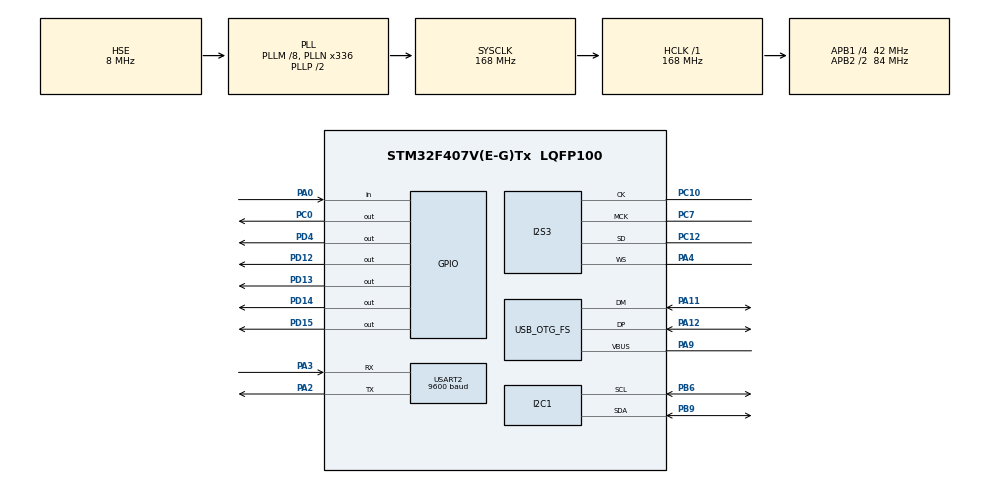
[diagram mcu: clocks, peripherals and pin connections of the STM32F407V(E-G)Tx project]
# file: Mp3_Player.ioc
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Dma.Request0=SPI3_TX
Dma.SPI3_TX.0.Direction=DMA_MEMORY_TO_PERIPH
Dma.SPI3_TX.0.FIFOMode=DMA_FIFOMODE_ENABLE
Dma.SPI3_TX.0.FIFOThreshold=DMA_FIFO_THRESHOLD_FULL
Dma.SPI3_TX.0.Instance=DMA1_Stream5
Dma.SPI3_TX.0.MemBurst=DMA_MBURST_SINGLE
Dma.SPI3_TX.0.MemDataAlignment=DMA_MDATAALIGN_HALFWORD
Dma.SPI3_TX.0.MemInc=DMA_MINC_ENABLE
Dma.SPI3_TX.0.Mode=DMA_CIRCULAR
Dma.SPI3_TX.0.PeriphBurst=DMA_PBURST_SINGLE
Dma.SPI3_TX.0.PeriphDataAlignment=DMA_PDATAALIGN_HALFWORD
Dma.SPI3_TX.0.PeriphInc=DMA_PINC_DISABLE
Dma.SPI3_TX.0.Priority=DMA_PRIORITY_LOW
I2S3.AudioFreq=I2S_AUDIOFREQ_44K
I2S3.ErrorAudioFreq=0.24 %
I2S3.FullDuplexMode=I2S_FULLDUPLEXMODE_DISABLE
I2S3.Instance=SPI$Index
I2S3.RealAudioFreq=44.108 KHz
I2S3.VirtualMode=I2S_MODE_MASTER
Mcu.Family=STM32F4
Mcu.Name=STM32F407V(E-G)Tx
Mcu.Package=LQFP100
NVIC.DMA1_Stream5_IRQn=true\:0\:0\:false\:false\:true\:false\:true\:true
NVIC.OTG_FS_IRQn=true\:0\:0\:false\:false\:true\:true\:true\:true
NVIC.PriorityGroup=NVIC_PRIORITYGROUP_0
NVIC.TIM1_UP_TIM10_IRQn=true\:0\:0\:false\:false\:true\:true\:true\:true
NVIC.USART2_IRQn=true\:0\:0\:false\:false\:true\:true\:true\:true
PA0-WKUP.Signal=GPIO_Input
PA11.Mode=Host_Only
PA11.Signal=USB_OTG_FS_DM
PA12.Mode=Host_Only
PA12.Signal=USB_OTG_FS_DP
PA2.Mode=Asynchronous
PA2.Signal=USART2_TX
PA3.Mode=Asynchronous
PA3.Signal=USART2_RX
PA4.Mode=Half_Duplex_Master
PA4.Signal=I2S3_WS
PA9.Mode=Activate_VBUS
PA9.Signal=USB_OTG_FS_VBUS
PB6.Mode=I2C
PB6.Signal=I2C1_SCL
PB9.Mode=I2C
PB9.Signal=I2C1_SDA
PC0.Signal=GPIO_Output
PC10.Mode=Half_Duplex_Master
PC10.Signal=I2S3_CK
PC12.Mode=Half_Duplex_Master
PC12.Signal=I2S3_SD
PC7.Mode=Master_Clock_Activated
PC7.Signal=I2S3_MCK
PD12.Signal=GPIO_Output
PD13.Signal=GPIO_Output
PD14.Signal=GPIO_Output
PD15.Signal=GPIO_Output
PD4.Signal=GPIO_Output
PH0-OSC_IN.Mode=HSE-External-Oscillator
PH0-OSC_IN.Signal=RCC_OSC_IN
PH1-OSC_OUT.Mode=HSE-External-Oscillator
PH1-OSC_OUT.Signal=RCC_OSC_OUT
ProjectManager.HeapSize=0x2000
ProjectManager.StackSize=0x2000
ProjectManager.TargetToolchain=STM32CubeIDE
RCC.48MHZClocksFreq_Value=48000000
RCC.AHBFreq_Value=168000000
RCC.APB1CLKDivider=RCC_HCLK_DIV4
RCC.APB1Freq_Value=42000000
RCC.APB1TimFreq_Value=84000000
RCC.APB2CLKDivider=RCC_HCLK_DIV2
RCC.APB2Freq_Value=84000000
RCC.APB2TimFreq_Value=168000000
RCC.CortexFreq_Value=168000000
RCC.HCLKFreq_Value=168000000
RCC.HSE_VALUE=8000000
RCC.HSI_VALUE=16000000
RCC.LSE_VALUE=32768
RCC.PLLI2SN=271
RCC.PLLI2SR=6
RCC.PLLM=8
RCC.PLLN=336
RCC.PLLQ=7
RCC.SYSCLKFreq_VALUE=168000000
RCC.SYSCLKSource=RCC_SYSCLKSOURCE_PLLCLK
RCC.VCOOutputFreq_Value=336000000
TIM1.Period=1000-1
TIM1.Prescaler=8400-1
USART2.BaudRate=9600
USART2.VirtualMode=VM_ASYNC
USB_HOST.USBH_HandleTypeDef-MSC_FS=hUsbHostFS
USB_HOST.VirtualModeFS=Msc
USB_OTG_FS.VirtualMode=Host_Only
USB_OTG_FS.phy_itface=HCD_PHY_EMBEDDED
VP_FATFS_VS_USB.Mode=USB
VP_TIM1_VS_ClockSourceINT.Mode=Internal
VP_USB_HOST_VS_USB_HOST_MSC_FS.Mode=MSC_FS
board=STM32F407G-DISC1

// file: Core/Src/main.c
/* USER CODE BEGIN Header */
/**
  ******************************************************************************
  * @file           : main.c
  * @brief          : Main program body
  ******************************************************************************
  * @attention
  *
  * Copyright (c) 2024 STMicroelectronics.
  * All rights reserved.
  *
  * This software is licensed under terms that can be found in the LICENSE file
  * in the root directory of this software component.
  * If no LICENSE file comes with this software, it is provided AS-IS.
  *
  ******************************************************************************
  */
/* USER CODE END Header */
#include "main.h"
#include "fatfs.h"
#include "usb_host.h"

/* USER CODE BEGIN Includes */
#include "audioI2S.h"
#include "MY_CS43L22.h"
#include "wav_player.h"

#include "stdio.h"
#include "stdbool.h"

#include "Nextion.h"

/* USER CODE END Includes */

/* USER CODE BEGIN PTD */
extern ApplicationTypeDef Appli_state;

/* USER CODE END PTD */

I2C_HandleTypeDef hi2c1;

I2S_HandleTypeDef hi2s3;
DMA_HandleTypeDef hdma_spi3_tx;

TIM_HandleTypeDef htim1;

UART_HandleTypeDef huart2;

/* USER CODE BEGIN PV */

#define WAV_FILE1 "islak.wav"
#define WAV_FILE2 "sertap.wav"
#define WAV_FILE3 "deneme.wav"
#define WAV_FILE4 "bring_me.wav"
#define WAV_FILE5 "savage_21.wav"

#define WAV_FILE6 "yorgunum.wav"
#define WAV_FILE7 "sonne.wav"
#define WAV_FILE8 "rolling.wav"
#define WAV_FILE9 "back_to_black.wav"
#define WAV_FILE10 "nothing_else.wav"

/* USER CODE END PV */

void SystemClock_Config(void);
static void MX_GPIO_Init(void);
static void MX_DMA_Init(void);
static void MX_I2C1_Init(void);
static void MX_I2S3_Init(void);
static void MX_TIM1_Init(void);
static void MX_USART2_UART_Init(void);
void MX_USB_HOST_Process(void);

/* USER CODE BEGIN 0 */
Nextion nextion;

NexComp basla;
NexComp dur;
NexComp ileri;
NexComp geri;
NexComp ses_azalt;
NexComp ses_artir;
NexComp devam;

NexComp nexText1;
NexComp nexText2;
NexComp nexText3;
NexComp nexText4;
NexComp nexText5;

int basla_durum, dur_durum, ileri_durum, geri_durum, ses_azalt_durum, ses_artir_durum, devam_durum;

bool test_1, test_2, test_3, test_4, test_5, test_6, test_7, test_8, test_9 = false;

uint8_t yazi_sayac;

uint8_t sarki_numarasi = 1;
char sarki_numarasi_c[5];

bool button_sayac = false;

uint16_t ses_seviye = 150;
char ses_seviye_c[5];

uint8_t Rx_Data[4];

bool pause_state = false;
bool devam_durum_b = false;

void HAL_UART_RxCpltCallback(UART_HandleTypeDef *huart)
{
    NextionUpdate(huart, &nextion);

}

void HAL_TIM_PeriodElapsedCallback(TIM_HandleTypeDef* htim)
{

	if (htim->Instance == TIM1){
		yazi_sayac++;

		if(yazi_sayac == 4) yazi_sayac =0;
	}

}

/* USER CODE END 0 */

int main(void)
{

  /* MCU Configuration--------------------------------------------------------*/

  /* Reset of all peripherals, Initializes the Flash interface and the Systick. */
  HAL_Init();

  /* Configure the system clock */
  SystemClock_Config();

  /* Initialize all configured peripherals */
  MX_GPIO_Init();
  MX_DMA_Init();
  MX_I2C1_Init();
  MX_I2S3_Init();
  MX_USB_HOST_Init();
  MX_FATFS_Init();
  MX_TIM1_Init();
  MX_USART2_UART_Init();
  /* USER CODE BEGIN 2 */

  NextionInit(&nextion, &huart2);
  HAL_Delay(40);

  NextionAddComp(&nextion, &nexText1, "t0", 0, 7, NULL, NULL);
  NextionAddComp(&nextion, &nexText2, "t1", 0, 8, NULL, NULL);
  NextionAddComp(&nextion, &nexText3, "t2", 0, 9, NULL, NULL);
  NextionAddComp(&nextion, &nexText4, "t3", 0, 10, NULL, NULL);
  NextionAddComp(&nextion, &nexText5, "t4", 0, 12, NULL, NULL);

  NextionAddComp(&nextion, &basla, "basla", 0, 1, NULL, NULL);
  NextionAddComp(&nextion, &dur, "dur", 0, 2, NULL, NULL);
  NextionAddComp(&nextion, &ileri, "ileri", 0, 7, NULL, NULL);
  NextionAddComp(&nextion, &geri, "geri", 0, 6, NULL, NULL);
  NextionAddComp(&nextion, &ses_azalt, "ses_eksi", 0, 4, NULL, NULL);
  NextionAddComp(&nextion, &ses_artir, "ses_arti", 0, 3, NULL, NULL);
  NextionAddComp(&nextion, &devam, "devam", 0, 11, NULL, NULL);

  HAL_TIM_Base_Start_IT(&htim1);

	CS43_Init(hi2c1, MODE_I2S);
  CS43_SetVolume(ses_seviye);//0-255 Ses -> ses_seviye
  CS43_Enable_RightLeft(CS43_RIGHT_LEFT);

  HAL_Delay(50);
  sprintf(ses_seviye_c, "%u", ses_seviye);
	NextionSetText(&nextion, &nexText5, ses_seviye_c);

  audioI2S_setHandle(&hi2s3);

  bool isSdCardMounted=0;

  /* USER CODE END 2 */

  /* Infinite loop */
  while (1)
  {
    MX_USB_HOST_Process();

    /* USER CODE BEGIN 3 */

	if(yazi_sayac == 1){
	    NextionSetText(&nextion, &nexText1, "MP3");
	}
	if(yazi_sayac == 2){
	    NextionSetText(&nextion, &nexText1, "UYGAR");
	}
	if(yazi_sayac == 3){
		NextionSetText(&nextion, &nexText1, "BERAT");
	}

    NextionGetVal(&nextion, &basla, &basla_durum);
    NextionGetVal(&nextion, &dur, &dur_durum);
    NextionGetVal(&nextion, &ileri, &ileri_durum);
    NextionGetVal(&nextion, &geri, &geri_durum);
    NextionGetVal(&nextion, &ses_azalt, &ses_azalt_durum);
    NextionGetVal(&nextion, &ses_artir, &ses_artir_durum);
    NextionGetVal(&nextion, &devam, &devam_durum);

    if(ileri_durum == 1){
	    sarki_numarasi++;
	    sprintf(sarki_numarasi_c, "%u", sarki_numarasi);
	    NextionSetText(&nextion, &nexText2, sarki_numarasi_c);
	    test_5 = true;
    }

    if(geri_durum == 1){
	    sarki_numarasi--;
	    sprintf(sarki_numarasi_c, "%u", sarki_numarasi);
	    NextionSetText(&nextion, &nexText2, sarki_numarasi_c);

    }

    if(ses_artir_durum == 1){
 	   ses_seviye = ses_seviye + 20;
 	   CS43_SetVolume(ses_seviye);//0-255 Ses

	    sprintf(ses_seviye_c, "%u", ses_seviye);
	    NextionSetText(&nextion, &nexText5, ses_seviye_c);

 	   if(ses_seviye > 245){
 		ses_seviye=150;
 	   }
    }

    if(ses_azalt_durum == 1){
 	   ses_seviye = ses_seviye - 20;
 	   CS43_SetVolume(ses_seviye);//0-255 Ses

	    sprintf(ses_seviye_c, "%u", ses_seviye);
	    NextionSetText(&nextion, &nexText5, ses_seviye_c);

 	   if(ses_seviye < 50){
 		ses_seviye=150;
 	   }
    }

    if(devam_durum == true){
    	test_6 = true;
    	devam_durum_b = true;
    }

     if(Appli_state == APPLICATION_START)
         {
    	 test_1 = true;
           HAL_GPIO_WritePin(GPIOD, GPIO_PIN_12, GPIO_PIN_SET);
         }
         else if(Appli_state == APPLICATION_DISCONNECT)
         {
           HAL_GPIO_WritePin(GPIOD, GPIO_PIN_12, GPIO_PIN_RESET);
           f_mount(NULL, (TCHAR const*)"", 0);
           isSdCardMounted = 0;
         }

     if(Appli_state == APPLICATION_READY)
     {
    	 test_2 = true;

    	 HAL_GPIO_WritePin(GPIOD, GPIO_PIN_13, GPIO_PIN_SET);

     	if(!isSdCardMounted)
     	      {
     	        f_mount(&USBHFatFS, (const TCHAR*)USBHPath, 0);
     	        isSdCardMounted = 1;
     	      }

       	if(basla_durum == 1)
       	{

           	HAL_Delay(500);
           	test_3 = true;

           	if(pause_state == true){
                HAL_GPIO_WritePin(GPIOD, GPIO_PIN_14, GPIO_PIN_SET);
                wavPlayer_pause();
                pause_state = false;
                test_7 = true;
           	}

           	if(devam_durum_b == true){
                HAL_GPIO_WritePin(GPIOD, GPIO_PIN_14, GPIO_PIN_RESET);
              	  test_8 = true;
                  wavPlayer_stop();
                  HAL_Delay(50);
             		if(sarki_numarasi == 1) {
             			wavPlayer_fileSelect(WAV_FILE1);
             	   		NextionSetText(&nextion, &nexText4, WAV_FILE1);
             		}
             		HAL_Delay(50);
             		if(sarki_numarasi == 2) {
             			wavPlayer_fileSelect(WAV_FILE2);
             			NextionSetText(&nextion, &nexText4, WAV_FILE2);
             		}
             		HAL_Delay(50);
             		if(sarki_numarasi == 3) {
             			wavPlayer_fileSelect(WAV_FILE3);
             			NextionSetText(&nextion, &nexText4, WAV_FILE3);
             		}
             		HAL_Delay(50);
             		if(sarki_numarasi == 4) {
             			wavPlayer_fileSelect(WAV_FILE4);
             			NextionSetText(&nextion, &nexText4, WAV_FILE4);
             		}
             		HAL_Delay(50);
             		if(sarki_numarasi == 5) {
             			wavPlayer_fileSelect(WAV_FILE5);
             			NextionSetText(&nextion, &nexText4, WAV_FILE5);
             		}
             		HAL_Delay(50);
             		if(sarki_numarasi == 6) {
             			wavPlayer_fileSelect(WAV_FILE6);
             			NextionSetText(&nextion, &nexText4, WAV_FILE6);
             		}
             		if(sarki_numarasi == 7) {
             			wavPlayer_fileSelect(WAV_FILE7);
             			NextionSetText(&nextion, &nexText4, WAV_FILE7);
             		}
             		if(sarki_numarasi == 8) {
             			wavPlayer_fileSelect(WAV_FILE8);
             			NextionSetText(&nextion, &nexText4, WAV_FILE8);
             		}
             		if(sarki_numarasi == 9) {
             			wavPlayer_fileSelect(WAV_FILE9);
             			NextionSetText(&nextion, &nexText4, WAV_FILE9);
             		}
             		if(sarki_numarasi == 10) {
             			wavPlayer_fileSelect(WAV_FILE10);
             			NextionSetText(&nextion, &nexText4, WAV_FILE10);
             		}
                      wavPlayer_play();

              	  wavPlayer_resume();
              	  pause_state = false;
              	devam_durum_b = false;
           	}

       		while(!wavPlayer_isFinished()){

       			test_9 = true;
       		          wavPlayer_process();

       		          if(HAL_GPIO_ReadPin(GPIOA, GPIO_PIN_0))
       		          {
       		        	  pause_state = true;
       		        	  break;
       		          }

       		    }

                    }

  }

   }
  /* USER CODE END 3 */
}

void SystemClock_Config(void)
{
  RCC_OscInitTypeDef RCC_OscInitStruct = {0};
  RCC_ClkInitTypeDef RCC_ClkInitStruct = {0};

  /** Configure the main internal regulator output voltage
  */
  __HAL_RCC_PWR_CLK_ENABLE();
  __HAL_PWR_VOLTAGESCALING_CONFIG(PWR_REGULATOR_VOLTAGE_SCALE1);

  /** Initializes the RCC Oscillators according to the specified parameters
  * in the RCC_OscInitTypeDef structure.
  */
  RCC_OscInitStruct.OscillatorType = RCC_OSCILLATORTYPE_HSE;
  RCC_OscInitStruct.HSEState = RCC_HSE_ON;
  RCC_OscInitStruct.PLL.PLLState = RCC_PLL_ON;
  RCC_OscInitStruct.PLL.PLLSource = RCC_PLLSOURCE_HSE;
  RCC_OscInitStruct.PLL.PLLM = 8;
  RCC_OscInitStruct.PLL.PLLN = 336;
  RCC_OscInitStruct.PLL.PLLP = RCC_PLLP_DIV2;
  RCC_OscInitStruct.PLL.PLLQ = 7;
  if (HAL_RCC_OscConfig(&RCC_OscInitStruct) != HAL_OK)
  {
    Error_Handler();
  }

  /** Initializes the CPU, AHB and APB buses clocks
  */
  RCC_ClkInitStruct.ClockType = RCC_CLOCKTYPE_HCLK|RCC_CLOCKTYPE_SYSCLK
                              |RCC_CLOCKTYPE_PCLK1|RCC_CLOCKTYPE_PCLK2;
  RCC_ClkInitStruct.SYSCLKSource = RCC_SYSCLKSOURCE_PLLCLK;
  RCC_ClkInitStruct.AHBCLKDivider = RCC_SYSCLK_DIV1;
  RCC_ClkInitStruct.APB1CLKDivider = RCC_HCLK_DIV4;
  RCC_ClkInitStruct.APB2CLKDivider = RCC_HCLK_DIV2;

  if (HAL_RCC_ClockConfig(&RCC_ClkInitStruct, FLASH_LATENCY_5) != HAL_OK)
  {
    Error_Handler();
  }
}

static void MX_I2C1_Init(void)
{

  hi2c1.Instance = I2C1;
  hi2c1.Init.ClockSpeed = 100000;
  hi2c1.Init.DutyCycle = I2C_DUTYCYCLE_2;
  hi2c1.Init.OwnAddress1 = 0;
  hi2c1.Init.AddressingMode = I2C_ADDRESSINGMODE_7BIT;
  hi2c1.Init.DualAddressMode = I2C_DUALADDRESS_DISABLE;
  hi2c1.Init.OwnAddress2 = 0;
  hi2c1.Init.GeneralCallMode = I2C_GENERALCALL_DISABLE;
  hi2c1.Init.NoStretchMode = I2C_NOSTRETCH_DISABLE;
  if (HAL_I2C_Init(&hi2c1) != HAL_OK)
  {
    Error_Handler();
  }

}

static void MX_I2S3_Init(void)
{

  hi2s3.Instance = SPI3;
  hi2s3.Init.Mode = I2S_MODE_MASTER_TX;
  hi2s3.Init.Standard = I2S_STANDARD_PHILIPS;
  hi2s3.Init.DataFormat = I2S_DATAFORMAT_16B;
  hi2s3.Init.MCLKOutput = I2S_MCLKOUTPUT_ENABLE;
  hi2s3.Init.AudioFreq = I2S_AUDIOFREQ_44K;
  hi2s3.Init.CPOL = I2S_CPOL_LOW;
  hi2s3.Init.ClockSource = I2S_CLOCK_PLL;
  hi2s3.Init.FullDuplexMode = I2S_FULLDUPLEXMODE_DISABLE;
  if (HAL_I2S_Init(&hi2s3) != HAL_OK)
  {
    Error_Handler();
  }

}

static void MX_TIM1_Init(void)
{

  TIM_ClockConfigTypeDef sClockSourceConfig = {0};
  TIM_MasterConfigTypeDef sMasterConfig = {0};

  htim1.Instance = TIM1;
  htim1.Init.Prescaler = 8400-1;
  htim1.Init.CounterMode = TIM_COUNTERMODE_UP;
  htim1.Init.Period = 1000-1;
  htim1.Init.ClockDivision = TIM_CLOCKDIVISION_DIV1;
  htim1.Init.RepetitionCounter = 0;
  htim1.Init.AutoReloadPreload = TIM_AUTORELOAD_PRELOAD_DISABLE;
  if (HAL_TIM_Base_Init(&htim1) != HAL_OK)
  {
    Error_Handler();
  }
  sClockSourceConfig.ClockSource = TIM_CLOCKSOURCE_INTERNAL;
  if (HAL_TIM_ConfigClockSource(&htim1, &sClockSourceConfig) != HAL_OK)
  {
    Error_Handler();
  }
  sMasterConfig.MasterOutputTrigger = TIM_TRGO_RESET;
  sMasterConfig.MasterSlaveMode = TIM_MASTERSLAVEMODE_DISABLE;
  if (HAL_TIMEx_MasterConfigSynchronization(&htim1, &sMasterConfig) != HAL_OK)
  {
    Error_Handler();
  }

}

static void MX_USART2_UART_Init(void)
{

  huart2.Instance = USART2;
  huart2.Init.BaudRate = 9600;
  huart2.Init.WordLength = UART_WORDLENGTH_8B;
  huart2.Init.StopBits = UART_STOPBITS_1;
  huart2.Init.Parity = UART_PARITY_NONE;
  huart2.Init.Mode = UART_MODE_TX_RX;
  huart2.Init.HwFlowCtl = UART_HWCONTROL_NONE;
  huart2.Init.OverSampling = UART_OVERSAMPLING_16;
  if (HAL_UART_Init(&huart2) != HAL_OK)
  {
    Error_Handler();
  }

}

static void MX_DMA_Init(void)
{

  /* DMA controller clock enable */
  __HAL_RCC_DMA1_CLK_ENABLE();

  /* DMA interrupt init */
  /* DMA1_Stream5_IRQn interrupt configuration */
  HAL_NVIC_SetPriority(DMA1_Stream5_IRQn, 0, 0);
  HAL_NVIC_EnableIRQ(DMA1_Stream5_IRQn);

}

static void MX_GPIO_Init(void)
{
  GPIO_InitTypeDef GPIO_InitStruct = {0};

  /* GPIO Ports Clock Enable */
  __HAL_RCC_GPIOH_CLK_ENABLE();
  __HAL_RCC_GPIOC_CLK_ENABLE();
  __HAL_RCC_GPIOA_CLK_ENABLE();
  __HAL_RCC_GPIOD_CLK_ENABLE();
  __HAL_RCC_GPIOB_CLK_ENABLE();

  /*Configure GPIO pin Output Level */
  HAL_GPIO_WritePin(GPIOC, GPIO_PIN_0, GPIO_PIN_RESET);

  /*Configure GPIO pin Output Level */
  HAL_GPIO_WritePin(GPIOD, GPIO_PIN_12|GPIO_PIN_13|GPIO_PIN_14|GPIO_PIN_15
                          |GPIO_PIN_4, GPIO_PIN_RESET);

  /*Configure GPIO pin : PC0 */
  GPIO_InitStruct.Pin = GPIO_PIN_0;
  GPIO_InitStruct.Mode = GPIO_MODE_OUTPUT_PP;
  GPIO_InitStruct.Pull = GPIO_NOPULL;
  GPIO_InitStruct.Speed = GPIO_SPEED_FREQ_LOW;
  HAL_GPIO_Init(GPIOC, &GPIO_InitStruct);

  /*Configure GPIO pin : PA0 */
  GPIO_InitStruct.Pin = GPIO_PIN_0;
  GPIO_InitStruct.Mode = GPIO_MODE_INPUT;
  GPIO_InitStruct.Pull = GPIO_NOPULL;
  HAL_GPIO_Init(GPIOA, &GPIO_InitStruct);

  /*Configure GPIO pins : PD12 PD13 PD14 PD15
                           PD4 */
  GPIO_InitStruct.Pin = GPIO_PIN_12|GPIO_PIN_13|GPIO_PIN_14|GPIO_PIN_15
                          |GPIO_PIN_4;
  GPIO_InitStruct.Mode = GPIO_MODE_OUTPUT_PP;
  GPIO_InitStruct.Pull = GPIO_NOPULL;
  GPIO_InitStruct.Speed = GPIO_SPEED_FREQ_LOW;
  HAL_GPIO_Init(GPIOD, &GPIO_InitStruct);

}

void Error_Handler(void)
{
  __disable_irq();
  while (1)
  {
  }
}
